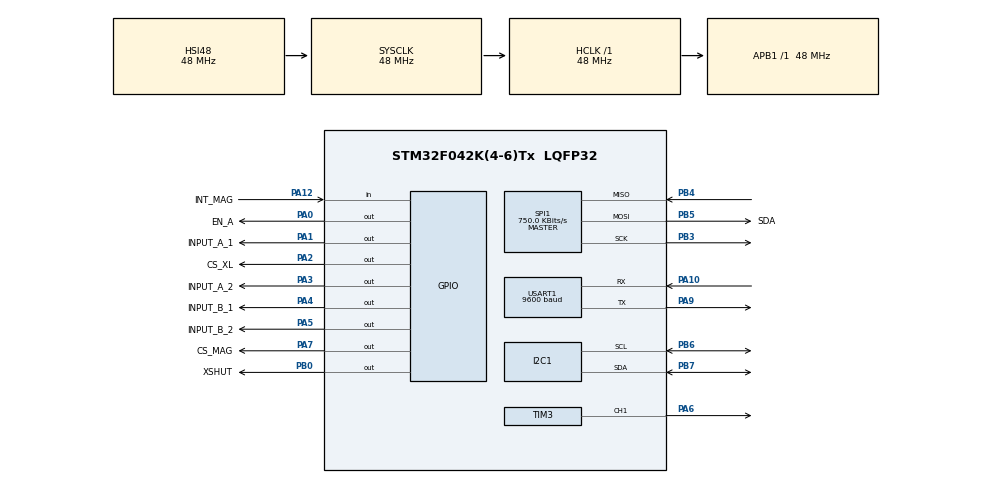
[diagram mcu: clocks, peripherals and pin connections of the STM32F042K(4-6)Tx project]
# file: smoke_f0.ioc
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Mcu.Family=STM32F0
Mcu.Name=STM32F042K(4-6)Tx
Mcu.Package=LQFP32
PA0.GPIO_Label=EN_A
PA0.Signal=GPIO_Output
PA1.GPIO_Label=INPUT_A_1
PA1.Signal=GPIO_Output
PA10.Mode=Asynchronous
PA10.Signal=USART1_RX
PA12.GPIO_Label=INT_MAG
PA12.Signal=GPIO_Input
PA13.GPIO_Label=SWDIO
PA13.Mode=Serial_Wire
PA13.Signal=SYS_SWDIO
PA14.GPIO_Label=SWCLK
PA14.Mode=Serial_Wire
PA14.Signal=SYS_SWCLK
PA15.GPIO_Label=VCP_RX
PA15.Signal=USART2_RX
PA2.GPIO_Label=CS_XL
PA2.Signal=GPIO_Output
PA3.GPIO_Label=INPUT_A_2
PA3.Signal=GPIO_Output
PA4.GPIO_Label=INPUT_B_1
PA4.Signal=GPIO_Output
PA5.GPIO_Label=INPUT_B_2
PA5.Signal=GPIO_Output
PA6.Signal=S_TIM3_CH1
PA7.GPIO_Label=CS_MAG
PA7.Signal=GPIO_Output
PA9.Mode=Asynchronous
PA9.Signal=USART1_TX
PB0.GPIO_Label=XSHUT
PB0.Signal=GPIO_Output
PB3.Mode=Full_Duplex_Master
PB3.Signal=SPI1_SCK
PB4.Mode=Full_Duplex_Master
PB4.Signal=SPI1_MISO
PB5.GPIO_Label=SDA
PB5.Mode=Full_Duplex_Master
PB5.Signal=SPI1_MOSI
PB6.Mode=I2C
PB6.Signal=I2C1_SCL
PB7.Mode=I2C
PB7.Signal=I2C1_SDA
PF0-OSC_IN.GPIO_Label=MCO
PF0-OSC_IN.Mode=HSE-External-Clock-Source
PF0-OSC_IN.Signal=RCC_OSC_IN
ProjectManager.HeapSize=0x200
ProjectManager.StackSize=0x400
ProjectManager.TargetToolchain=STM32CubeIDE
RCC.AHBFreq_Value=48000000
RCC.APB1Freq_Value=48000000
RCC.APB1TimFreq_Value=48000000
RCC.HCLKFreq_Value=48000000
RCC.SYSCLKFreq_VALUE=48000000
RCC.SYSCLKSource=RCC_SYSCLKSOURCE_HSI48
SH.S_TIM3_CH1.0=TIM3_CH1,PWM Generation1 CH1
SPI1.BaudRatePrescaler=SPI_BAUDRATEPRESCALER_64
SPI1.CalculateBaudRate=750.0 KBits/s
SPI1.DataSize=SPI_DATASIZE_8BIT
SPI1.Direction=SPI_DIRECTION_2LINES
SPI1.Mode=SPI_MODE_MASTER
SPI1.VirtualType=VM_MASTER
TIM3.Channel-PWM\ Generation1\ CH1=TIM_CHANNEL_1
USART1.BaudRate=9600
USART1.VirtualMode-Asynchronous=VM_ASYNC
VP_TIM3_VS_ClockSourceINT.Mode=Internal
board=NUCLEO-F042K6

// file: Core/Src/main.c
/* USER CODE BEGIN Header */
/**
  ******************************************************************************
  * @file           : main.c
  * @brief          : Main program body
  ******************************************************************************
  * @attention
  *
  * Copyright (c) 2023 STMicroelectronics.
  * All rights reserved.
  *
  * This software is licensed under terms that can be found in the LICENSE file
  * in the root directory of this software component.
  * If no LICENSE file comes with this software, it is provided AS-IS.
  *
  ******************************************************************************
  */
/* USER CODE END Header */
#include "main.h"

/* USER CODE BEGIN Includes */

#include "driver.h"
#include "motor_controller.h"
#include "accel.h"
#include "bluetooth.h"
#include "lidar.h"

/* USER CODE END Includes */

I2C_HandleTypeDef hi2c1;

SPI_HandleTypeDef hspi1;

TIM_HandleTypeDef htim3;

UART_HandleTypeDef huart1;

void SystemClock_Config(void);
static void MX_GPIO_Init(void);
static void MX_I2C1_Init(void);
static void MX_SPI1_Init(void);
static void MX_USART1_UART_Init(void);
static void MX_TIM3_Init(void);

int main(void)
{

  /* MCU Configuration--------------------------------------------------------*/

  /* Reset of all peripherals, Initializes the Flash interface and the Systick. */
  HAL_Init();

  /* Configure the system clock */
  SystemClock_Config();

  /* Initialize all configured peripherals */
  MX_GPIO_Init();
  MX_I2C1_Init();
  MX_SPI1_Init();
  MX_USART1_UART_Init();
  MX_TIM3_Init();
  /* USER CODE BEGIN 2 */

  initMotor(); /* Initiate DC motors to IDLE or stopped */
  Bluetooth_Init();

  /* USER CODE END 2 */

  /* Infinite loop */
  /* USER CODE BEGIN WHILE */

  uint8_t data;
  HAL_StatusTypeDef status;
  while (1)
  {

	  HAL_GPIO_TogglePin(GPIOE, GPIO_PIN_1);
      status = HAL_UART_Receive(&huart2, &data, 1, HAL_MAX_DELAY1);

	 if (status == HAL_OK) {
		// Data received successfully, toggle the LED
		HAL_GPIO_WritePin(GPIOB, GPIO_PIN_14, GPIO_PIN_RESET);  // Turn on the LED
		HAL_GPIO_WritePin(GPIOB, GPIO_PIN_0, GPIO_PIN_SET);  // Replace LD2_PIN with the pin connected to your LED
		HAL_Delay(1000);
	 } else {
		// Error in data reception, turn on the LED
		HAL_GPIO_WritePin(GPIOB, GPIO_PIN_0, GPIO_PIN_RESET);  // Replace LD2_PIN with the pin connected to your LED
		HAL_GPIO_WritePin(GPIOB, GPIO_PIN_14, GPIO_PIN_SET);  // Turn on the LED
	 }

    /* USER CODE END WHILE */

  }
}

void SystemClock_Config(void)
{
  RCC_OscInitTypeDef RCC_OscInitStruct = {0};
  RCC_ClkInitTypeDef RCC_ClkInitStruct = {0};
  RCC_PeriphCLKInitTypeDef PeriphClkInit = {0};

  /** Initializes the RCC Oscillators according to the specified parameters
  * in the RCC_OscInitTypeDef structure.
  */
  RCC_OscInitStruct.OscillatorType = RCC_OSCILLATORTYPE_HSI|RCC_OSCILLATORTYPE_HSI48;
  RCC_OscInitStruct.HSIState = RCC_HSI_ON;
  RCC_OscInitStruct.HSI48State = RCC_HSI48_ON;
  RCC_OscInitStruct.HSICalibrationValue = RCC_HSICALIBRATION_DEFAULT;
  RCC_OscInitStruct.PLL.PLLState = RCC_PLL_NONE;
  if (HAL_RCC_OscConfig(&RCC_OscInitStruct) != HAL_OK)
  {
    Error_Handler();
  }

  /** Initializes the CPU, AHB and APB buses clocks
  */
  RCC_ClkInitStruct.ClockType = RCC_CLOCKTYPE_HCLK|RCC_CLOCKTYPE_SYSCLK
                              |RCC_CLOCKTYPE_PCLK1;
  RCC_ClkInitStruct.SYSCLKSource = RCC_SYSCLKSOURCE_HSI48;
  RCC_ClkInitStruct.AHBCLKDivider = RCC_SYSCLK_DIV1;
  RCC_ClkInitStruct.APB1CLKDivider = RCC_HCLK_DIV1;

  if (HAL_RCC_ClockConfig(&RCC_ClkInitStruct, FLASH_LATENCY_1) != HAL_OK)
  {
    Error_Handler();
  }
  PeriphClkInit.PeriphClockSelection = RCC_PERIPHCLK_USART1|RCC_PERIPHCLK_I2C1;
  PeriphClkInit.Usart1ClockSelection = RCC_USART1CLKSOURCE_PCLK1;
  PeriphClkInit.I2c1ClockSelection = RCC_I2C1CLKSOURCE_HSI;
  if (HAL_RCCEx_PeriphCLKConfig(&PeriphClkInit) != HAL_OK)
  {
    Error_Handler();
  }
}

static void MX_I2C1_Init(void)
{

  hi2c1.Instance = I2C1;
  hi2c1.Init.Timing = 0x2000090E;
  hi2c1.Init.OwnAddress1 = 0;
  hi2c1.Init.AddressingMode = I2C_ADDRESSINGMODE_7BIT;
  hi2c1.Init.DualAddressMode = I2C_DUALADDRESS_DISABLE;
  hi2c1.Init.OwnAddress2 = 0;
  hi2c1.Init.OwnAddress2Masks = I2C_OA2_NOMASK;
  hi2c1.Init.GeneralCallMode = I2C_GENERALCALL_DISABLE;
  hi2c1.Init.NoStretchMode = I2C_NOSTRETCH_DISABLE;
  if (HAL_I2C_Init(&hi2c1) != HAL_OK)
  {
    Error_Handler();
  }

  /** Configure Analogue filter
  */
  if (HAL_I2CEx_ConfigAnalogFilter(&hi2c1, I2C_ANALOGFILTER_ENABLE) != HAL_OK)
  {
    Error_Handler();
  }

  /** Configure Digital filter
  */
  if (HAL_I2CEx_ConfigDigitalFilter(&hi2c1, 0) != HAL_OK)
  {
    Error_Handler();
  }

}

static void MX_SPI1_Init(void)
{

  /* SPI1 parameter configuration*/
  hspi1.Instance = SPI1;
  hspi1.Init.Mode = SPI_MODE_MASTER;
  hspi1.Init.Direction = SPI_DIRECTION_2LINES;
  hspi1.Init.DataSize = SPI_DATASIZE_8BIT;
  hspi1.Init.CLKPolarity = SPI_POLARITY_LOW;
  hspi1.Init.CLKPhase = SPI_PHASE_1EDGE;
  hspi1.Init.NSS = SPI_NSS_SOFT;
  hspi1.Init.BaudRatePrescaler = SPI_BAUDRATEPRESCALER_64;
  hspi1.Init.FirstBit = SPI_FIRSTBIT_MSB;
  hspi1.Init.TIMode = SPI_TIMODE_DISABLE;
  hspi1.Init.CRCCalculation = SPI_CRCCALCULATION_DISABLE;
  hspi1.Init.CRCPolynomial = 7;
  hspi1.Init.CRCLength = SPI_CRC_LENGTH_DATASIZE;
  hspi1.Init.NSSPMode = SPI_NSS_PULSE_ENABLE;
  if (HAL_SPI_Init(&hspi1) != HAL_OK)
  {
    Error_Handler();
  }

}

static void MX_TIM3_Init(void)
{

  TIM_ClockConfigTypeDef sClockSourceConfig = {0};
  TIM_MasterConfigTypeDef sMasterConfig = {0};
  TIM_OC_InitTypeDef sConfigOC = {0};

  htim3.Instance = TIM3;
  htim3.Init.Prescaler = 0;
  htim3.Init.CounterMode = TIM_COUNTERMODE_UP;
  htim3.Init.Period = 65535;
  htim3.Init.ClockDivision = TIM_CLOCKDIVISION_DIV1;
  htim3.Init.AutoReloadPreload = TIM_AUTORELOAD_PRELOAD_DISABLE;
  if (HAL_TIM_Base_Init(&htim3) != HAL_OK)
  {
    Error_Handler();
  }
  sClockSourceConfig.ClockSource = TIM_CLOCKSOURCE_INTERNAL;
  if (HAL_TIM_ConfigClockSource(&htim3, &sClockSourceConfig) != HAL_OK)
  {
    Error_Handler();
  }
  if (HAL_TIM_PWM_Init(&htim3) != HAL_OK)
  {
    Error_Handler();
  }
  sMasterConfig.MasterOutputTrigger = TIM_TRGO_RESET;
  sMasterConfig.MasterSlaveMode = TIM_MASTERSLAVEMODE_DISABLE;
  if (HAL_TIMEx_MasterConfigSynchronization(&htim3, &sMasterConfig) != HAL_OK)
  {
    Error_Handler();
  }
  sConfigOC.OCMode = TIM_OCMODE_PWM1;
  sConfigOC.Pulse = 0;
  sConfigOC.OCPolarity = TIM_OCPOLARITY_HIGH;
  sConfigOC.OCFastMode = TIM_OCFAST_DISABLE;
  if (HAL_TIM_PWM_ConfigChannel(&htim3, &sConfigOC, TIM_CHANNEL_1) != HAL_OK)
  {
    Error_Handler();
  }
  HAL_TIM_MspPostInit(&htim3);

}

static void MX_USART1_UART_Init(void)
{

  huart1.Instance = USART1;
  huart1.Init.BaudRate = 9600;
  huart1.Init.WordLength = UART_WORDLENGTH_8B;
  huart1.Init.StopBits = UART_STOPBITS_1;
  huart1.Init.Parity = UART_PARITY_NONE;
  huart1.Init.Mode = UART_MODE_TX_RX;
  huart1.Init.HwFlowCtl = UART_HWCONTROL_NONE;
  huart1.Init.OverSampling = UART_OVERSAMPLING_16;
  huart1.Init.OneBitSampling = UART_ONE_BIT_SAMPLE_DISABLE;
  huart1.AdvancedInit.AdvFeatureInit = UART_ADVFEATURE_NO_INIT;
  if (HAL_UART_Init(&huart1) != HAL_OK)
  {
    Error_Handler();
  }

}

static void MX_GPIO_Init(void)
{
  GPIO_InitTypeDef GPIO_InitStruct = {0};

  /* GPIO Ports Clock Enable */
  __HAL_RCC_GPIOF_CLK_ENABLE();
  __HAL_RCC_GPIOA_CLK_ENABLE();
  __HAL_RCC_GPIOB_CLK_ENABLE();

  /*Configure GPIO pin Output Level */
  HAL_GPIO_WritePin(GPIOA, EN_A_Pin|INPUT_A_1_Pin|CS_XL_Pin|INPUT_A_2_Pin
                          |INPUT_B_1_Pin|INPUT_B_2_Pin|CS_MAG_Pin, GPIO_PIN_RESET);

  /*Configure GPIO pin Output Level */
  HAL_GPIO_WritePin(XSHUT_GPIO_Port, XSHUT_Pin, GPIO_PIN_RESET);

  /*Configure GPIO pins : EN_A_Pin INPUT_A_1_Pin CS_XL_Pin INPUT_A_2_Pin
                           INPUT_B_1_Pin INPUT_B_2_Pin CS_MAG_Pin */
  GPIO_InitStruct.Pin = EN_A_Pin|INPUT_A_1_Pin|CS_XL_Pin|INPUT_A_2_Pin
                          |INPUT_B_1_Pin|INPUT_B_2_Pin|CS_MAG_Pin;
  GPIO_InitStruct.Mode = GPIO_MODE_OUTPUT_PP;
  GPIO_InitStruct.Pull = GPIO_NOPULL;
  GPIO_InitStruct.Speed = GPIO_SPEED_FREQ_LOW;
  HAL_GPIO_Init(GPIOA, &GPIO_InitStruct);

  /*Configure GPIO pin : XSHUT_Pin */
  GPIO_InitStruct.Pin = XSHUT_Pin;
  GPIO_InitStruct.Mode = GPIO_MODE_OUTPUT_PP;
  GPIO_InitStruct.Pull = GPIO_NOPULL;
  GPIO_InitStruct.Speed = GPIO_SPEED_FREQ_LOW;
  HAL_GPIO_Init(XSHUT_GPIO_Port, &GPIO_InitStruct);

  /*Configure GPIO pin : INT_MAG_Pin */
  GPIO_InitStruct.Pin = INT_MAG_Pin;
  GPIO_InitStruct.Mode = GPIO_MODE_INPUT;
  GPIO_InitStruct.Pull = GPIO_NOPULL;
  HAL_GPIO_Init(INT_MAG_GPIO_Port, &GPIO_InitStruct);

  /*Configure GPIO pin : VCP_RX_Pin */
  GPIO_InitStruct.Pin = VCP_RX_Pin;
  GPIO_InitStruct.Mode = GPIO_MODE_AF_PP;
  GPIO_InitStruct.Pull = GPIO_NOPULL;
  GPIO_InitStruct.Speed = GPIO_SPEED_FREQ_HIGH;
  GPIO_InitStruct.Alternate = GPIO_AF1_USART2;
  HAL_GPIO_Init(VCP_RX_GPIO_Port, &GPIO_InitStruct);

}

void Error_Handler(void)
{
  __disable_irq();
  while (1)
  {
  }
}
